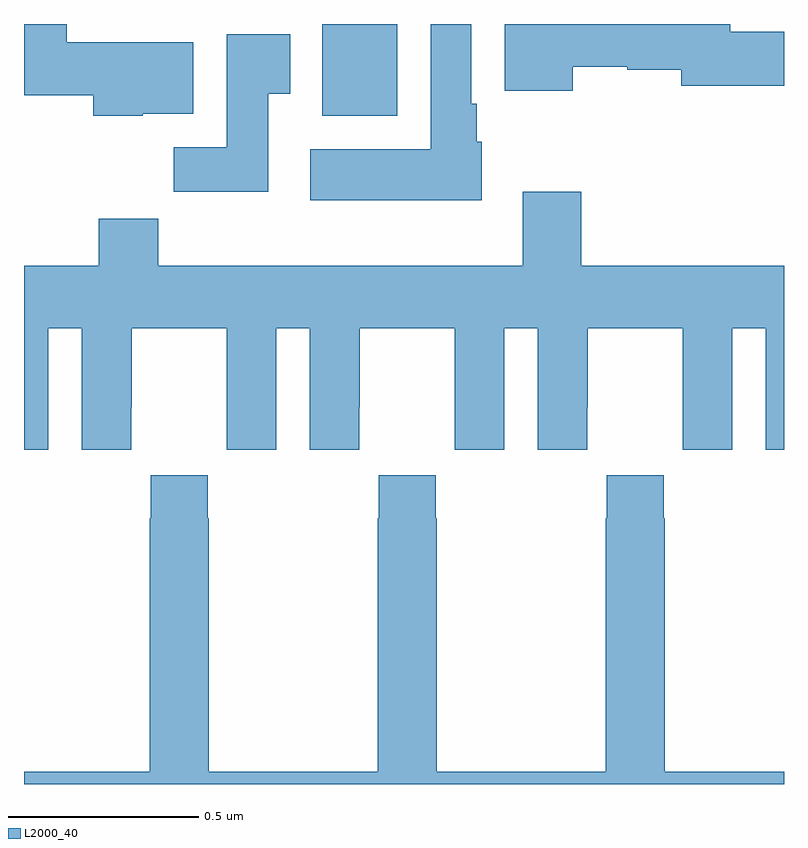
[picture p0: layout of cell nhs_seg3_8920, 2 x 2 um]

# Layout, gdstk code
import gdstk
lib = gdstk.Library(unit=1e-6, precision=1e-09)
def R(c, l, rs):  # rectangles x0, y0, x1, y1
    for r in rs: c.add(gdstk.rectangle(r[:2], r[2:], *l))
def P(c, l, *ps):  # polygons
    for p in ps: c.add(gdstk.Polygon(p, *l))
L2000_40 = (2000, 40)

nhs_seg3_8920 = lib.new_cell('nhs_seg3_8920')
R(nhs_seg3_8920, L2000_40, [(222.785,684.158,222.982,684.4)])
P(nhs_seg3_8920, L2000_40, [(222.312,684.164),(222.445,684.164),(222.445,684.352),(222.112,684.352),(222.112,684.4),(222,684.4),(222,684.212),(222.182,684.212),(222.182,684.158),(222.312,684.158)],
  [(223.444,684.288),(223.587,684.288),(223.587,684.28),(223.73,684.28),(223.73,684.238),(224,684.238),(224,684.38),(223.858,684.38),(223.858,684.4),(223.265,684.4),(223.265,684.224),(223.444,684.224)],
  [(223.204,684.09),(223.192,684.09),(223.192,684.19),(223.177,684.19),(223.177,684.4),(223.07,684.4),(223.07,684.07),(222.753,684.07),(222.753,683.936),(223.204,683.936)],
  [(222.643,684.217),(222.7,684.217),(222.7,684.373),(222.533,684.373),(222.533,684.076),(222.394,684.076),(222.394,683.958),(222.643,683.958)],
  [(222.064,683.6),(222.152,683.6),(222.152,683.28),(222.282,683.28),(222.282,683.392),(222.283,683.392),(222.283,683.6),(222.533,683.6),(222.533,683.392),(222.534,683.392),(222.534,683.28),(222.664,683.28),(222.664,683.6),(222.752,683.6),(222.752,683.28),(222.882,683.28),(222.882,683.392),(222.883,683.392),(222.883,683.6),(223.133,683.6),(223.133,683.392),(223.134,683.392),(223.134,683.28),(223.264,683.28),(223.264,683.6),(223.352,683.6),(223.352,683.28),(223.482,683.28),(223.482,683.392),(223.483,683.392),(223.483,683.6),(223.733,683.6),(223.733,683.392),(223.734,683.392),(223.734,683.28),(223.864,683.28),(223.864,683.6),(223.952,683.6),(223.952,683.28),(224,683.28),(224,683.764),(223.466,683.764),(223.466,683.959),(223.313,683.959),(223.313,683.764),(222.353,683.764),(222.353,683.888),(222.197,683.888),(222.197,683.764),(222,683.764),(222,683.28),(222.064,683.28)],
  [(222.933,683.212),(222.933,683.099),(222.931,683.099),(222.931,682.432),(222.486,682.432),(222.486,683.099),(222.483,683.099),(222.483,683.212),(222.333,683.212),(222.333,683.099),(222.331,683.099),(222.331,682.432),(222,682.432),(222,682.4),(224,682.4),(224,682.432),(223.686,682.432),(223.686,683.099),(223.683,683.099),(223.683,683.212),(223.533,683.212),(223.533,683.099),(223.531,683.099),(223.531,682.432),(223.086,682.432),(223.086,683.099),(223.083,683.099),(223.083,683.212)])

lib.write_gds('nhs_seg3_8920.gds')
